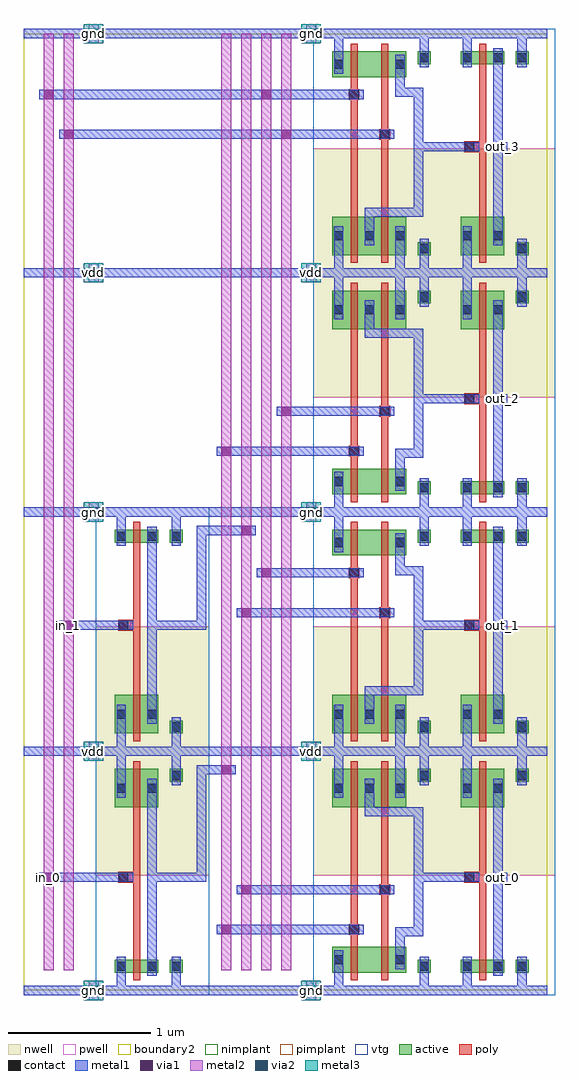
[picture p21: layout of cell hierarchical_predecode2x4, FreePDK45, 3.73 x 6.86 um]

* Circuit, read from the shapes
.subckt hierarchical_predecode2x4 gnd in_0 in_1 out_0 out_1 out_2 out_3 vdd
M1 and2_dec_2/A in_0 gnd gnd nfet w=0.09u l=0.05u
M2 and2_dec_2/B in_1 gnd gnd nfet w=0.09u l=0.05u
M3 and2_dec_2/pnand2_0/nmos_m1_w0_180_sm1_dactive_2/D and2_dec_2/A gnd gnd nfet w=0.18u l=0.05u
M4 and2_dec_3/pnand2_0/nmos_m1_w0_180_sm1_dactive_2/D in_0 gnd gnd nfet w=0.18u l=0.05u
M5 and2_dec_4/pnand2_0/nmos_m1_w0_180_sm1_dactive_2/D and2_dec_2/A gnd gnd nfet w=0.18u l=0.05u
M6 and2_dec_5/pnand2_0/nmos_m1_w0_180_sm1_dactive_2/D in_0 gnd gnd nfet w=0.18u l=0.05u
M7 and2_dec_2/pinv_1/A and2_dec_2/B and2_dec_2/pnand2_0/nmos_m1_w0_180_sm1_dactive_2/D gnd nfet w=0.18u l=0.05u
M8 and2_dec_3/pinv_1/A and2_dec_2/B and2_dec_3/pnand2_0/nmos_m1_w0_180_sm1_dactive_2/D gnd nfet w=0.18u l=0.05u
M9 and2_dec_4/pinv_1/A in_1 and2_dec_4/pnand2_0/nmos_m1_w0_180_sm1_dactive_2/D gnd nfet w=0.18u l=0.05u
M10 and2_dec_5/pinv_1/A in_1 and2_dec_5/pnand2_0/nmos_m1_w0_180_sm1_dactive_2/D gnd nfet w=0.18u l=0.05u
M11 out_0 and2_dec_2/pinv_1/A gnd gnd nfet w=0.09u l=0.05u
M12 out_1 and2_dec_3/pinv_1/A gnd gnd nfet w=0.09u l=0.05u
M13 out_2 and2_dec_4/pinv_1/A gnd gnd nfet w=0.09u l=0.05u
M14 out_3 and2_dec_5/pinv_1/A gnd gnd nfet w=0.09u l=0.05u
M15 and2_dec_2/A in_0 vdd vdd pfet w=0.27u l=0.05u
M16 and2_dec_2/B in_1 vdd vdd pfet w=0.27u l=0.05u
M17 and2_dec_2/pinv_1/A and2_dec_2/A vdd vdd pfet w=0.27u l=0.05u
M18 and2_dec_3/pinv_1/A in_0 vdd vdd pfet w=0.27u l=0.05u
M19 and2_dec_4/pinv_1/A and2_dec_2/A vdd vdd pfet w=0.27u l=0.05u
M20 and2_dec_5/pinv_1/A in_0 vdd vdd pfet w=0.27u l=0.05u
M21 vdd and2_dec_2/B and2_dec_2/pinv_1/A vdd pfet w=0.27u l=0.05u
M22 vdd and2_dec_2/B and2_dec_3/pinv_1/A vdd pfet w=0.27u l=0.05u
M23 vdd in_1 and2_dec_4/pinv_1/A vdd pfet w=0.27u l=0.05u
M24 vdd in_1 and2_dec_5/pinv_1/A vdd pfet w=0.27u l=0.05u
M25 out_0 and2_dec_2/pinv_1/A vdd vdd pfet w=0.27u l=0.05u
M26 out_1 and2_dec_3/pinv_1/A vdd vdd pfet w=0.27u l=0.05u
M27 out_2 and2_dec_4/pinv_1/A vdd vdd pfet w=0.27u l=0.05u
M28 out_3 and2_dec_5/pinv_1/A vdd vdd pfet w=0.27u l=0.05u
.ends

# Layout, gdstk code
import gdstk
lib = gdstk.Library(unit=1e-6, precision=5e-10)
def R(c, l, rs):  # rectangles x0, y0, x1, y1
    for r in rs: c.add(gdstk.rectangle(r[:2], r[2:], *l))
def A(c, l, x, y, w, h, nx, ny, dx, dy):  # array of equal rectangles
    R(c, l, [(x+i*dx, y+j*dy, x+i*dx+w, y+j*dy+h) for i in range(nx) for j in range(ny)])
active = (1, 0)
pwell = (2, 0)
nwell = (3, 0)
nimplant = (4, 0)
pimplant = (5, 0)
vtg = (6, 0)
poly = (9, 0)
contact = (10, 0)
metal1 = (11, 0)
via1 = (12, 0)
metal2 = (13, 0)
via2 = (14, 0)
metal3 = (15, 0)
boundary2 = (239, 0)

contact_10 = lib.new_cell('contact_10')
R(contact_10, active, [(0,0.0225,0.09,0.1125)])
R(contact_10, nwell, [(-0.055,-0.0325,0.145,0.1675)])
R(contact_10, pimplant, [(0,0.0225,0.09,0.1125)])
R(contact_10, contact, [(0.0125,0.035,0.0775,0.1)])
R(contact_10, metal1, [(0.0125,0,0.0775,0.135)])
R(contact_10, boundary2, [(-0.055,-0.0325,0.145,0.1675)])

pmos_m1_w0_270_sm1_dm1_d = lib.new_cell('pmos_m1_w0_270_sm1_dm1_da_p')
R(pmos_m1_w0_270_sm1_dm1_d, active, [(0,0,0.305,0.27)])
R(pmos_m1_w0_270_sm1_dm1_d, nwell, [(-0.08,-0.08,0.385,0.35)])
R(pmos_m1_w0_270_sm1_dm1_d, pimplant, [(0,0,0.305,0.27)])
R(pmos_m1_w0_270_sm1_dm1_d, vtg, [(-0.08,-0.08,0.385,0.35)])
R(pmos_m1_w0_270_sm1_dm1_d, poly, [(0.1275,-0.055,0.1775,0.325), (0.1275,-0.055,0.1775,0.325)])
R(pmos_m1_w0_270_sm1_dm1_d, metal1, [(0.0125,0.0675,0.0775,0.2025), (0.2275,0.0675,0.2925,0.2025)])
R(pmos_m1_w0_270_sm1_dm1_d, boundary2, [(-0.08,-0.08,0.385,0.35)])
pmos_m1_w0_270_sm1_dm1_d.add(gdstk.Reference(contact_10, (0,0.0675)))
pmos_m1_w0_270_sm1_dm1_d.add(gdstk.Reference(contact_10, (0.215,0.0675)))
pmos_m1_w0_270_sm1_dm1_d.add(gdstk.Label('G', (0.1525,0.135), layer=9, texttype=0))
pmos_m1_w0_270_sm1_dm1_d.add(gdstk.Label('S', (0.045,0.135), layer=11, texttype=0))
pmos_m1_w0_270_sm1_dm1_d.add(gdstk.Label('D', (0.26,0.135), layer=11, texttype=0))

contact_9 = lib.new_cell('contact_9')
R(contact_9, active, [(0,0.0225,0.09,0.1125)])
R(contact_9, pwell, [(-0.055,-0.0325,0.145,0.1675)])
R(contact_9, nimplant, [(0,0.0225,0.09,0.1125)])
R(contact_9, contact, [(0.0125,0.035,0.0775,0.1)])
R(contact_9, metal1, [(0.0125,0,0.0775,0.135)])
R(contact_9, boundary2, [(-0.055,-0.0325,0.145,0.1675)])

nmos_m1_w0_090_sm1_dm1_d = lib.new_cell('nmos_m1_w0_090_sm1_dm1_da_p')
R(nmos_m1_w0_090_sm1_dm1_d, active, [(0,0,0.305,0.09)])
R(nmos_m1_w0_090_sm1_dm1_d, pwell, [(-0.08,-0.08,0.385,0.17)])
R(nmos_m1_w0_090_sm1_dm1_d, nimplant, [(0,0,0.305,0.09)])
R(nmos_m1_w0_090_sm1_dm1_d, vtg, [(-0.08,-0.08,0.385,0.17)])
R(nmos_m1_w0_090_sm1_dm1_d, poly, [(0.1275,-0.055,0.1775,0.145), (0.1275,-0.055,0.1775,0.145)])
R(nmos_m1_w0_090_sm1_dm1_d, metal1, [(0.0125,-0.0225,0.0775,0.1125), (0.2275,-0.0225,0.2925,0.1125)])
R(nmos_m1_w0_090_sm1_dm1_d, boundary2, [(-0.08,-0.08,0.385,0.17)])
nmos_m1_w0_090_sm1_dm1_d.add(gdstk.Reference(contact_9, (0,-0.0225)))
nmos_m1_w0_090_sm1_dm1_d.add(gdstk.Reference(contact_9, (0.215,-0.0225)))
nmos_m1_w0_090_sm1_dm1_d.add(gdstk.Label('G', (0.1525,0.045), layer=9, texttype=0))
nmos_m1_w0_090_sm1_dm1_d.add(gdstk.Label('S', (0.045,0.045), layer=11, texttype=0))
nmos_m1_w0_090_sm1_dm1_d.add(gdstk.Label('D', (0.26,0.045), layer=11, texttype=0))

contact_11 = lib.new_cell('contact_11')
R(contact_11, active, [(0,0.0225,0.09,0.1125)])
R(contact_11, nwell, [(-0.055,-0.0325,0.145,0.1675)])
R(contact_11, nimplant, [(0,0.0225,0.09,0.1125)])
R(contact_11, contact, [(0.0125,0.035,0.0775,0.1)])
R(contact_11, metal1, [(0.0125,0,0.0775,0.135)])
R(contact_11, boundary2, [(-0.055,-0.0325,0.145,0.1675)])

contact_12 = lib.new_cell('contact_12')
R(contact_12, active, [(0,0.0225,0.09,0.1125)])
R(contact_12, pwell, [(-0.055,-0.0325,0.145,0.1675)])
R(contact_12, pimplant, [(0,0.0225,0.09,0.1125)])
R(contact_12, contact, [(0.0125,0.035,0.0775,0.1)])
R(contact_12, metal1, [(0.0125,0,0.0775,0.135)])
R(contact_12, boundary2, [(-0.055,-0.0325,0.145,0.1675)])

contact_13 = lib.new_cell('contact_13')
R(contact_13, poly, [(0.03,0,0.105,0.075)])
R(contact_13, contact, [(0.035,0.005,0.1,0.07)])
R(contact_13, metal1, [(0,0.005,0.135,0.07)])
R(contact_13, boundary2, [(0,0,0.135,0.075)])

pinv = lib.new_cell('pinv')
R(pinv, pwell, [(-0.055,-0.0325,0.7425,0.8075)])
R(pinv, nwell, [(-0.055,0.8075,0.7425,1.715)])
R(pinv, vtg, [(-0.055,-0.0325,0.7425,0.8075), (-0.055,0.8075,0.7425,1.715)])
R(pinv, poly, [(0.2075,0.27,0.2575,1.23), (0.14,0.7575,0.2075,0.8325)])
R(pinv, metal1, [(0,-0.0325,0.6875,0.0325), (0.0925,-0.0325,0.1575,0.1025), (0.4775,0,0.5425,0.17), (0.3075,0.1025,0.3725,1.4875), (0.0725,0.7625,0.2075,0.8275), (0.34,0.7625,0.405,0.8275), (0.0925,1.3525,0.1575,1.7125), (0.4775,1.51,0.5425,1.68), (0,1.6475,0.6875,1.7125)])
R(pinv, boundary2, [(0,0,0.6875,1.68), (0,0,0.6875,1.68)])
pinv.add(gdstk.Reference(pmos_m1_w0_270_sm1_dm1_d, (0.08,1.285)))
pinv.add(gdstk.Reference(nmos_m1_w0_090_sm1_dm1_d, (0.08,0.125)))
pinv.add(gdstk.Reference(contact_11, (0.465,1.4425)))
pinv.add(gdstk.Reference(contact_12, (0.465,0.1025)))
pinv.add(gdstk.Reference(contact_13, (0.0725,0.7575)))
pinv.add(gdstk.Label('A', (0.14,0.795), layer=11, texttype=0))
pinv.add(gdstk.Label('Z', (0.3725,0.795), layer=11, texttype=0))
pinv.add(gdstk.Label('gnd', (0.344,0), layer=11, texttype=0))
pinv.add(gdstk.Label('vdd', (0.344,1.68), layer=11, texttype=0))

pmos_m1_w0_270_sm1_dm1 = lib.new_cell('pmos_m1_w0_270_sm1_dm1')
R(pmos_m1_w0_270_sm1_dm1, active, [(0,0,0.305,0.27)])
R(pmos_m1_w0_270_sm1_dm1, nwell, [(-0.08,-0.08,0.385,0.35)])
R(pmos_m1_w0_270_sm1_dm1, pimplant, [(0,0,0.305,0.27)])
R(pmos_m1_w0_270_sm1_dm1, vtg, [(-0.08,-0.08,0.385,0.35)])
R(pmos_m1_w0_270_sm1_dm1, poly, [(0.1275,-0.055,0.1775,0.325), (0.1275,-0.055,0.1775,0.325)])
R(pmos_m1_w0_270_sm1_dm1, metal1, [(0.0125,0.0675,0.0775,0.2025), (0.2275,0.0675,0.2925,0.2025)])
R(pmos_m1_w0_270_sm1_dm1, boundary2, [(-0.08,-0.08,0.385,0.35)])
pmos_m1_w0_270_sm1_dm1.add(gdstk.Reference(contact_10, (0,0.0675)))
pmos_m1_w0_270_sm1_dm1.add(gdstk.Reference(contact_10, (0.215,0.0675)))
pmos_m1_w0_270_sm1_dm1.add(gdstk.Label('G', (0.1525,0.135), layer=9, texttype=0))
pmos_m1_w0_270_sm1_dm1.add(gdstk.Label('S', (0.045,0.135), layer=11, texttype=0))
pmos_m1_w0_270_sm1_dm1.add(gdstk.Label('D', (0.26,0.135), layer=11, texttype=0))

nmos_m1_w0_180_sm1_dacti = lib.new_cell('nmos_m1_w0_180_sm1_dactive')
R(nmos_m1_w0_180_sm1_dacti, active, [(0,0,0.305,0.18), (0.215,0.045,0.305,0.135)])
R(nmos_m1_w0_180_sm1_dacti, pwell, [(-0.08,-0.08,0.385,0.26)])
R(nmos_m1_w0_180_sm1_dacti, nimplant, [(0,0,0.305,0.18)])
R(nmos_m1_w0_180_sm1_dacti, vtg, [(-0.08,-0.08,0.385,0.26)])
R(nmos_m1_w0_180_sm1_dacti, poly, [(0.1275,-0.055,0.1775,0.235), (0.1275,-0.055,0.1775,0.235)])
R(nmos_m1_w0_180_sm1_dacti, metal1, [(0.0125,0.0225,0.0775,0.1575)])
R(nmos_m1_w0_180_sm1_dacti, boundary2, [(-0.08,-0.08,0.385,0.26)])
nmos_m1_w0_180_sm1_dacti.add(gdstk.Reference(contact_9, (0,0.0225)))
nmos_m1_w0_180_sm1_dacti.add(gdstk.Label('G', (0.1525,0.09), layer=9, texttype=0))
nmos_m1_w0_180_sm1_dacti.add(gdstk.Label('S', (0.045,0.09), layer=11, texttype=0))
nmos_m1_w0_180_sm1_dacti.add(gdstk.Label('D', (0.26,0.09), layer=1, texttype=0))

nmos_m1_w0_180_sactive_d = lib.new_cell('nmos_m1_w0_180_sactive_dm1')
R(nmos_m1_w0_180_sactive_d, active, [(0,0,0.305,0.18), (0,0.045,0.09,0.135)])
R(nmos_m1_w0_180_sactive_d, pwell, [(-0.08,-0.08,0.385,0.26)])
R(nmos_m1_w0_180_sactive_d, nimplant, [(0,0,0.305,0.18)])
R(nmos_m1_w0_180_sactive_d, vtg, [(-0.08,-0.08,0.385,0.26)])
R(nmos_m1_w0_180_sactive_d, poly, [(0.1275,-0.055,0.1775,0.235), (0.1275,-0.055,0.1775,0.235)])
R(nmos_m1_w0_180_sactive_d, metal1, [(0.2275,0.0225,0.2925,0.1575)])
R(nmos_m1_w0_180_sactive_d, boundary2, [(-0.08,-0.08,0.385,0.26)])
nmos_m1_w0_180_sactive_d.add(gdstk.Reference(contact_9, (0.215,0.0225)))
nmos_m1_w0_180_sactive_d.add(gdstk.Label('G', (0.1525,0.09), layer=9, texttype=0))
nmos_m1_w0_180_sactive_d.add(gdstk.Label('S', (0.045,0.09), layer=1, texttype=0))
nmos_m1_w0_180_sactive_d.add(gdstk.Label('D', (0.26,0.09), layer=11, texttype=0))

pnand2 = lib.new_cell('pnand2')
R(pnand2, pwell, [(-0.055,-0.0325,0.9575,0.8075)])
R(pnand2, nwell, [(-0.055,0.8075,0.9575,1.715)])
R(pnand2, vtg, [(-0.055,-0.0325,0.9575,0.8075), (-0.055,0.8075,0.9575,1.715)])
R(pnand2, poly, [(0.2075,0.36,0.2575,1.23), (0.4225,0.36,0.4725,1.23), (0.2075,0.39,0.2325,0.465), (0.4225,0.67,0.4475,0.745)])
R(pnand2, metal1, [(0,-0.0325,0.9025,0.0325), (0.0925,-0.0325,0.1575,0.1475), (0.6925,0,0.7575,0.17), (0.5225,0.2825,0.5875,0.4125), (0.5225,0.38,0.5875,0.445), (0.555,0.38,0.685,0.445), (0.6525,0.38,0.7175,0.445), (0.165,0.395,0.3,0.46), (0.6525,0.4125,0.7175,1.255), (0.38,0.675,0.515,0.74), (0.3075,1.2225,0.3725,1.2875), (0.34,1.2225,0.685,1.2875), (0.6525,1.2225,0.7175,1.2875), (0.3075,1.255,0.3725,1.3525), (0.0925,1.3525,0.1575,1.7125), (0.5225,1.3525,0.5875,1.7125), (0.6925,1.51,0.7575,1.68), (0,1.6475,0.9025,1.7125)])
R(pnand2, boundary2, [(0,0,0.9025,1.68), (0,0,0.9025,1.68)])
pnand2.add(gdstk.Reference(pmos_m1_w0_270_sm1_dm1, (0.08,1.285)))
pnand2.add(gdstk.Reference(pmos_m1_w0_270_sm1_dm1, (0.295,1.285)))
pnand2.add(gdstk.Reference(nmos_m1_w0_180_sm1_dacti, (0.08,0.125)))
pnand2.add(gdstk.Reference(nmos_m1_w0_180_sactive_d, (0.295,0.125)))
pnand2.add(gdstk.Reference(contact_11, (0.68,1.4425)))
pnand2.add(gdstk.Reference(contact_12, (0.68,0.1025)))
pnand2.add(gdstk.Reference(contact_13, (0.165,0.39)))
pnand2.add(gdstk.Reference(contact_13, (0.38,0.67)))
pnand2.add(gdstk.Label('Z', (0.685,1.255), layer=11, texttype=0))
pnand2.add(gdstk.Label('gnd', (0.451,0), layer=11, texttype=0))
pnand2.add(gdstk.Label('vdd', (0.451,1.68), layer=11, texttype=0))
pnand2.add(gdstk.Label('A', (0.2325,0.4275), layer=11, texttype=0))
pnand2.add(gdstk.Label('B', (0.4475,0.7075), layer=11, texttype=0))

and2_dec = lib.new_cell('and2_dec')
R(and2_dec, metal1, [(0,-0.0325,1.59,0.0325), (0.165,0.395,0.3,0.46), (0.38,0.675,0.515,0.74), (0.6525,0.7625,0.7175,0.8275), (0.685,0.7625,1.0425,0.8275), (1.2425,0.7625,1.3075,0.8275), (0.6525,0.795,0.7175,1.255), (0,1.6475,1.59,1.7125)])
R(and2_dec, boundary2, [(0,0,1.59,1.68)])
and2_dec.add(gdstk.Reference(pnand2, (0,0)))
and2_dec.add(gdstk.Reference(pinv, (0.9025,0)))
and2_dec.add(gdstk.Label('Z', (1.275,0.795), layer=11, texttype=0))
and2_dec.add(gdstk.Label('A', (0.2325,0.4275), layer=11, texttype=0))
and2_dec.add(gdstk.Label('B', (0.4475,0.7075), layer=11, texttype=0))
and2_dec.add(gdstk.Label('gnd', (0.795,0), layer=11, texttype=0))
and2_dec.add(gdstk.Label('vdd', (0.795,1.68), layer=11, texttype=0))

contact_14 = lib.new_cell('contact_14')
R(contact_14, metal1, [(0,0.035,0.135,0.1)])
R(contact_14, via1, [(0.035,0.035,0.1,0.1)])
R(contact_14, metal2, [(0.0325,0,0.1025,0.135)])
R(contact_14, boundary2, [(0,0,0.135,0.135)])

contact_16 = lib.new_cell('contact_16')
R(contact_16, metal1, [(0,0.035,0.135,0.1)])
R(contact_16, via1, [(0.035,0.035,0.1,0.1)])
R(contact_16, metal2, [(0.0325,0,0.1025,0.135)])
R(contact_16, boundary2, [(0,0,0.135,0.135)])

contact_17 = lib.new_cell('contact_17')
R(contact_17, metal2, [(0.0325,0,0.1025,0.135)])
R(contact_17, via2, [(0.035,0.035,0.1,0.1)])
R(contact_17, metal3, [(0,0.0325,0.135,0.1025)])
R(contact_17, boundary2, [(0,0,0.135,0.135)])

hierarchical_predecode2x = lib.new_cell('hierarchical_predecode2x4')
R(hierarchical_predecode2x, metal1, [(0,-0.0325,3.6775,0.0325), (1.4225,0.395,2.32,0.46), (2.2875,0.395,2.3525,0.46), (1.5625,0.675,2.535,0.74), (2.5025,0.675,2.5675,0.74), (0.175,0.7625,0.7,0.8275), (0.6675,0.7625,0.7325,0.8275), (0.9325,0.7625,0.9975,0.8275), (0.965,0.7625,1.2475,0.8275), (1.215,0.7625,1.28,0.8275), (3.33,0.7625,3.395,0.8275), (1.215,0.795,1.28,1.55), (1.215,1.5175,1.28,1.5825), (1.2475,1.5175,1.4225,1.5825), (0,1.6475,3.6775,1.7125), (0,1.6475,3.6775,1.7125), (0.315,2.5325,0.7,2.5975), (0.6675,2.5325,0.7325,2.5975), (0.9325,2.5325,0.9975,2.5975), (0.965,2.5325,1.2475,2.5975), (1.215,2.5325,1.28,2.5975), (3.33,2.5325,3.395,2.5975), (1.215,2.565,1.28,3.23), (1.5625,2.62,2.535,2.685), (2.5025,2.62,2.5675,2.685), (1.7025,2.9,2.32,2.965), (2.2875,2.9,2.3525,2.965), (1.215,3.1975,1.28,3.2625), (1.2475,3.1975,1.5625,3.2625), (0,3.3275,3.6775,3.3925), (0,3.3275,3.6775,3.3925), (1.4225,3.755,2.32,3.82), (2.2875,3.755,2.3525,3.82), (1.8425,4.035,2.535,4.1), (2.5025,4.035,2.5675,4.1), (3.33,4.1225,3.395,4.1875), (0,5.0075,3.6775,5.0725), (0,5.0075,3.6775,5.0725), (3.33,5.8925,3.395,5.9575), (0.315,5.98,1.8425,6.045), (1.8425,5.98,2.535,6.045), (2.5025,5.98,2.5675,6.045), (0.175,6.26,1.7025,6.325), (1.7025,6.26,2.32,6.325), (2.2875,6.26,2.3525,6.325), (0,6.6875,3.6775,6.7525)])
A(hierarchical_predecode2x, metal2, 1.3875, 0.14, 0.07, 6.58, 4, 1, 0.14, 0)
R(hierarchical_predecode2x, metal2, [(0.14,0.14,0.21,6.72), (0.28,0.14,0.35,6.72), (0.14,0.7275,0.21,0.8625), (0.28,2.4975,0.35,2.6325)])
A(hierarchical_predecode2x, metal3, 0.4225, 1.6125, 0.135, 0.135, 1, 3, 0, 1.68)
A(hierarchical_predecode2x, metal3, 1.95, 1.6125, 0.135, 0.135, 1, 3, 0, 1.68)
R(hierarchical_predecode2x, metal3, [(0.4225,-0.0675,0.5575,0.0675), (1.95,-0.0675,2.085,0.0675), (0.4225,1.6125,0.5575,1.7475), (1.95,1.6125,2.085,1.7475), (0.4225,4.9725,0.5575,5.1075), (1.95,4.9725,2.085,5.1075), (0.4225,6.6525,0.5575,6.7875), (1.95,6.6525,2.085,6.7875)])
R(hierarchical_predecode2x, boundary2, [(0,0,3.6775,6.72)])
hierarchical_predecode2x.add(gdstk.Reference(pinv, (0.56,0)))
hierarchical_predecode2x.add(gdstk.Reference(pinv, (0.56,3.36), x_reflection=True))
hierarchical_predecode2x.add(gdstk.Reference(and2_dec, (2.0875,0)))
hierarchical_predecode2x.add(gdstk.Reference(and2_dec, (2.0875,3.36), x_reflection=True))
hierarchical_predecode2x.add(gdstk.Reference(and2_dec, (2.0875,3.36)))
hierarchical_predecode2x.add(gdstk.Reference(and2_dec, (2.0875,6.72), x_reflection=True))
hierarchical_predecode2x.add(gdstk.Reference(contact_14, (0.1075,0.7275)))
hierarchical_predecode2x.add(gdstk.Reference(contact_14, (0.2475,2.4975)))
hierarchical_predecode2x.add(gdstk.Reference(contact_14, (1.355,0.36)))
hierarchical_predecode2x.add(gdstk.Reference(contact_14, (1.495,0.64)))
hierarchical_predecode2x.add(gdstk.Reference(contact_14, (1.635,2.865)))
hierarchical_predecode2x.add(gdstk.Reference(contact_14, (1.495,2.585)))
hierarchical_predecode2x.add(gdstk.Reference(contact_14, (1.355,3.72)))
hierarchical_predecode2x.add(gdstk.Reference(contact_14, (1.775,4)))
hierarchical_predecode2x.add(gdstk.Reference(contact_14, (1.635,6.225)))
hierarchical_predecode2x.add(gdstk.Reference(contact_14, (1.775,5.945)))
hierarchical_predecode2x.add(gdstk.Reference(contact_14, (1.355,1.4825)))
hierarchical_predecode2x.add(gdstk.Reference(contact_14, (1.495,3.1625)))
hierarchical_predecode2x.add(gdstk.Reference(contact_16, (0.1075,6.225)))
hierarchical_predecode2x.add(gdstk.Reference(contact_16, (1.635,6.225)))
hierarchical_predecode2x.add(gdstk.Reference(contact_16, (0.2475,5.945)))
hierarchical_predecode2x.add(gdstk.Reference(contact_16, (1.775,5.945)))
hierarchical_predecode2x.add(gdstk.Reference(contact_16, (0.4225,1.6125)))
hierarchical_predecode2x.add(gdstk.Reference(contact_17, (0.4225,1.6125)))
hierarchical_predecode2x.add(gdstk.Reference(contact_16, (1.95,1.6125)))
hierarchical_predecode2x.add(gdstk.Reference(contact_17, (1.95,1.6125)))
hierarchical_predecode2x.add(gdstk.Reference(contact_16, (0.4225,-0.0675)))
hierarchical_predecode2x.add(gdstk.Reference(contact_17, (0.4225,-0.0675)))
hierarchical_predecode2x.add(gdstk.Reference(contact_16, (1.95,-0.0675)))
hierarchical_predecode2x.add(gdstk.Reference(contact_17, (1.95,-0.0675)))
hierarchical_predecode2x.add(gdstk.Reference(contact_16, (0.4225,1.6125)))
hierarchical_predecode2x.add(gdstk.Reference(contact_17, (0.4225,1.6125)))
hierarchical_predecode2x.add(gdstk.Reference(contact_16, (1.95,1.6125)))
hierarchical_predecode2x.add(gdstk.Reference(contact_17, (1.95,1.6125)))
hierarchical_predecode2x.add(gdstk.Reference(contact_16, (0.4225,3.2925)))
hierarchical_predecode2x.add(gdstk.Reference(contact_17, (0.4225,3.2925)))
hierarchical_predecode2x.add(gdstk.Reference(contact_16, (1.95,3.2925)))
hierarchical_predecode2x.add(gdstk.Reference(contact_17, (1.95,3.2925)))
hierarchical_predecode2x.add(gdstk.Reference(contact_16, (0.4225,4.9725)))
hierarchical_predecode2x.add(gdstk.Reference(contact_17, (0.4225,4.9725)))
hierarchical_predecode2x.add(gdstk.Reference(contact_16, (1.95,4.9725)))
hierarchical_predecode2x.add(gdstk.Reference(contact_17, (1.95,4.9725)))
hierarchical_predecode2x.add(gdstk.Reference(contact_16, (0.4225,3.2925)))
hierarchical_predecode2x.add(gdstk.Reference(contact_17, (0.4225,3.2925)))
hierarchical_predecode2x.add(gdstk.Reference(contact_16, (1.95,3.2925)))
hierarchical_predecode2x.add(gdstk.Reference(contact_17, (1.95,3.2925)))
hierarchical_predecode2x.add(gdstk.Reference(contact_16, (0.4225,4.9725)))
hierarchical_predecode2x.add(gdstk.Reference(contact_17, (0.4225,4.9725)))
hierarchical_predecode2x.add(gdstk.Reference(contact_16, (1.95,4.9725)))
hierarchical_predecode2x.add(gdstk.Reference(contact_17, (1.95,4.9725)))
hierarchical_predecode2x.add(gdstk.Reference(contact_16, (0.4225,6.6525)))
hierarchical_predecode2x.add(gdstk.Reference(contact_17, (0.4225,6.6525)))
hierarchical_predecode2x.add(gdstk.Reference(contact_16, (1.95,6.6525)))
hierarchical_predecode2x.add(gdstk.Reference(contact_17, (1.95,6.6525)))
hierarchical_predecode2x.add(gdstk.Label('in_0', (0.175,0.795), layer=13, texttype=0))
hierarchical_predecode2x.add(gdstk.Label('in_1', (0.315,2.565), layer=13, texttype=0))
hierarchical_predecode2x.add(gdstk.Label('out_0', (3.3625,0.795), layer=11, texttype=0))
hierarchical_predecode2x.add(gdstk.Label('out_1', (3.3625,2.565), layer=11, texttype=0))
hierarchical_predecode2x.add(gdstk.Label('out_2', (3.3625,4.155), layer=11, texttype=0))
hierarchical_predecode2x.add(gdstk.Label('out_3', (3.3625,5.925), layer=11, texttype=0))
hierarchical_predecode2x.add(gdstk.Label('vdd', (0.49,1.68), layer=15, texttype=0))
hierarchical_predecode2x.add(gdstk.Label('vdd', (2.0175,1.68), layer=15, texttype=0))
hierarchical_predecode2x.add(gdstk.Label('vdd', (0.49,1.68), layer=15, texttype=0))
hierarchical_predecode2x.add(gdstk.Label('vdd', (0.49,5.04), layer=15, texttype=0))
hierarchical_predecode2x.add(gdstk.Label('vdd', (0.49,5.04), layer=15, texttype=0))
hierarchical_predecode2x.add(gdstk.Label('vdd', (2.0175,5.04), layer=15, texttype=0))
hierarchical_predecode2x.add(gdstk.Label('vdd', (2.0175,5.04), layer=15, texttype=0))
hierarchical_predecode2x.add(gdstk.Label('vdd', (2.0175,1.68), layer=15, texttype=0))
hierarchical_predecode2x.add(gdstk.Label('gnd', (0.49,3.36), layer=15, texttype=0))
hierarchical_predecode2x.add(gdstk.Label('gnd', (2.0175,3.36), layer=15, texttype=0))
hierarchical_predecode2x.add(gdstk.Label('gnd', (2.0175,0), layer=15, texttype=0))
hierarchical_predecode2x.add(gdstk.Label('gnd', (2.0175,6.72), layer=15, texttype=0))
hierarchical_predecode2x.add(gdstk.Label('gnd', (0.49,6.72), layer=15, texttype=0))
hierarchical_predecode2x.add(gdstk.Label('gnd', (0.49,0), layer=15, texttype=0))

lib.write_gds('hierarchical_predecode2x4.gds')
